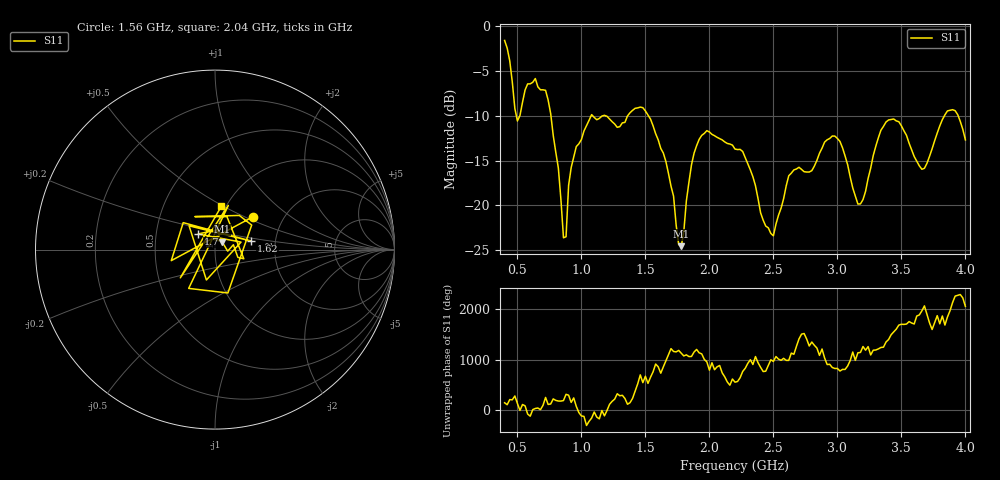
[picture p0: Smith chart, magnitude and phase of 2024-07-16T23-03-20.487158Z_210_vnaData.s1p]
!Created with skrf (http://scikit-rf.org).
# Hz S RI R 50.0
!freq ReS11 ImS11
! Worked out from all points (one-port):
!   181 points, 400 MHz to 4 GHz, reference 50 ohm
!   lowest |S11| = -24.5 dB at 1.78 GHz (marker M1), VSWR 1.13, Z = 53.8 + j4.84 ohm
!   |S11| at or under -10 dB: 761.9 MHz to 1.076 GHz (313.9 MHz wide, 34.2 % of centre); 1.19 GHz to 1.361 GHz (171.1 MHz wide, 13.4 % of centre); 1.524 GHz to 3.836 GHz (2.312 GHz wide, 86.3 % of centre) (the widest 3 of 6)
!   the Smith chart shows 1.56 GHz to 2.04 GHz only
!   S11 on the Smith chart (normalised r, x): 1.56 GHz: 1.40, +0.55; 1.62 GHz: 1.50, +0.15; 1.7 GHz: 0.82, +0.14; 2.04 GHz: 0.95, +0.49
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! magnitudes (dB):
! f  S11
! 400 MHz  -1.6
! 500 MHz  -10.6
! 580 MHz  -6.4
! 720 MHz  -7.2
! 820 MHz  -15.8
! 860 MHz  -23.6
! 880 MHz  -23.5
! 920 MHz  -15.8
! 1.08 GHz  -9.9
! 1.3 GHz  -11.2
! 1.56 GHz  -11.1
! 1.62 GHz  -13.6
! 1.7 GHz  -17.8
! 1.76 GHz  -24.4
! 1.78 GHz  -24.5
! 1.88 GHz  -14.2
! 2.04 GHz  -12.2
! 2.2 GHz  -13.7
! 2.5 GHz  -23.4
! 2.66 GHz  -16.0
! 2.98 GHz  -12.3
! 3.1 GHz  -16.8
! 3.18 GHz  -19.8
! 3.4 GHz  -10.5
! 3.56 GHz  -13.1
! 3.68 GHz  -15.9
! 3.9 GHz  -9.3
! 4 GHz  -12.7
